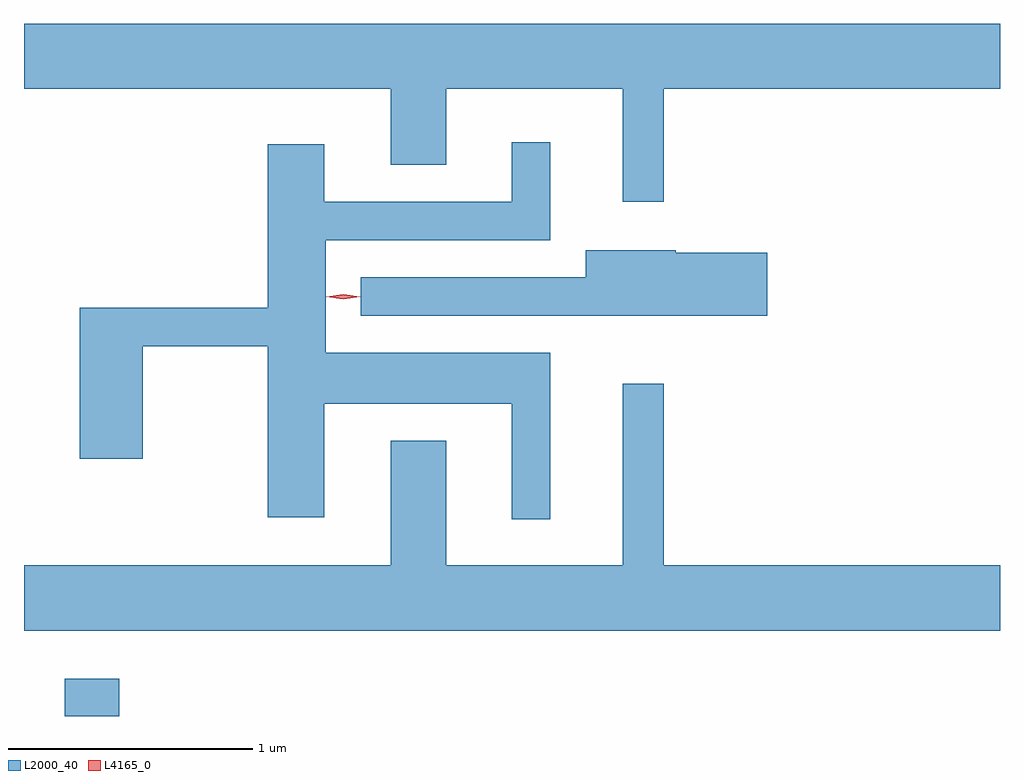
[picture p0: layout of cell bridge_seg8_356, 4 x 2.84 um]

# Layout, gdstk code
import gdstk
lib = gdstk.Library(unit=1e-6, precision=1e-09)
def R(c, l, rs):  # rectangles x0, y0, x1, y1
    for r in rs: c.add(gdstk.rectangle(r[:2], r[2:], *l))
def P(c, l, *ps):  # polygons
    for p in ps: c.add(gdstk.Polygon(p, *l))
L2000_40 = (2000, 40)
L4165_0 = (4165, 0)

bridge_seg8_356 = lib.new_cell('bridge_seg8_356')
R(bridge_seg8_356, L2000_40, [(822.006,1935.964,822.229,1936.119)])
P(bridge_seg8_356, L2000_40, [(824.459,1938.536),(825.838,1938.536),(825.838,1938.804),(821.838,1938.804),(821.838,1938.536),(823.341,1938.536),(823.341,1938.226),(823.569,1938.226),(823.569,1938.536),(824.291,1938.536),(824.291,1938.073),(824.459,1938.073)],
  [(823.994,1937.454),(823.074,1937.454),(823.074,1937.916),(823.994,1937.916),(823.994,1938.318),(823.836,1938.318),(823.836,1938.074),(823.069,1938.074),(823.069,1938.309),(822.836,1938.309),(822.836,1937.639),(822.066,1937.639),(822.066,1937.021),(822.324,1937.021),(822.324,1937.481),(822.836,1937.481),(822.836,1936.781),(823.069,1936.781),(823.069,1937.246),(823.836,1937.246),(823.836,1936.773),(823.994,1936.773)],
  [(824.884,1937.864),(824.51,1937.864),(824.51,1937.874),(824.141,1937.874),(824.141,1937.764),(823.218,1937.764),(823.218,1937.606),(824.884,1937.606)],
  [(825.838,1936.584),(824.459,1936.584),(824.459,1937.328),(824.291,1937.328),(824.291,1936.584),(823.569,1936.584),(823.569,1937.094),(823.341,1937.094),(823.341,1936.584),(821.838,1936.584),(821.838,1936.316),(825.838,1936.316)])
P(bridge_seg8_356, L4165_0, [(823.147,1937.674),(823.082,1937.684),(823.081,1937.684),(823.082,1937.685),(823.147,1937.694),(823.212,1937.685),(823.213,1937.684),(823.212,1937.684)],
  [(823.147,1937.674),(823.077,1937.684),(823.077,1937.684),(823.077,1937.685),(823.147,1937.694),(823.216,1937.685),(823.216,1937.684),(823.216,1937.684)])

lib.write_gds('bridge_seg8_356.gds')
